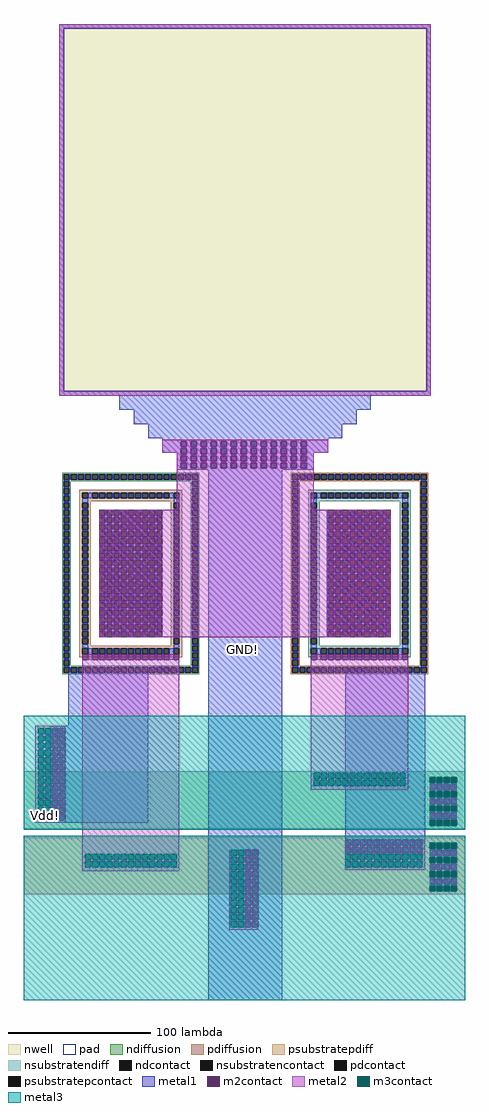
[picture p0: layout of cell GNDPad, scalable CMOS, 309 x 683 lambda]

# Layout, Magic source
magic
tech scmos
<< psubstratepdiff >>
rect 144 39 150 71
rect 159 39 165 71
<< metal1 >>
rect 97 356 213 357
rect 97 352 110 356
rect 114 352 117 356
rect 121 352 124 356
rect 128 352 131 356
rect 135 352 138 356
rect 142 352 145 356
rect 149 352 152 356
rect 156 352 159 356
rect 163 352 166 356
rect 170 352 173 356
rect 177 352 180 356
rect 184 352 187 356
rect 191 352 194 356
rect 198 352 213 356
rect 97 351 213 352
rect 97 348 110 351
rect 107 347 110 348
rect 114 347 117 351
rect 121 347 124 351
rect 128 347 131 351
rect 135 347 138 351
rect 142 347 145 351
rect 149 347 152 351
rect 156 347 159 351
rect 163 347 166 351
rect 170 347 173 351
rect 177 347 180 351
rect 184 347 187 351
rect 191 347 194 351
rect 198 348 213 351
rect 198 347 203 348
rect 107 346 203 347
rect 107 342 110 346
rect 114 342 117 346
rect 121 342 124 346
rect 128 342 131 346
rect 135 342 138 346
rect 142 342 145 346
rect 149 342 152 346
rect 156 342 159 346
rect 163 342 166 346
rect 170 342 173 346
rect 177 342 180 346
rect 184 342 187 346
rect 191 342 194 346
rect 198 342 203 346
rect 107 341 203 342
rect 107 337 110 341
rect 114 337 117 341
rect 121 337 124 341
rect 128 337 131 341
rect 135 337 138 341
rect 142 337 145 341
rect 149 337 152 341
rect 156 337 159 341
rect 163 337 166 341
rect 170 337 173 341
rect 177 337 180 341
rect 184 337 187 341
rect 191 337 194 341
rect 198 337 203 341
rect 107 336 203 337
rect 45 203 48 207
rect 52 203 53 207
rect 57 203 58 207
rect 62 203 63 207
rect 67 203 68 207
rect 72 203 73 207
rect 77 203 78 207
rect 82 203 83 207
rect 87 203 88 207
rect 92 203 93 207
rect 97 203 98 207
rect 102 203 105 207
rect 31 157 87 194
rect 19 155 87 157
rect 19 151 20 155
rect 24 151 25 155
rect 29 151 87 155
rect 19 150 87 151
rect 19 146 20 150
rect 24 146 25 150
rect 29 146 87 150
rect 19 145 87 146
rect 19 141 20 145
rect 24 141 25 145
rect 29 141 87 145
rect 19 140 87 141
rect 19 136 20 140
rect 24 136 25 140
rect 29 136 87 140
rect 19 135 87 136
rect 19 131 20 135
rect 24 131 25 135
rect 29 131 87 135
rect 19 130 87 131
rect 19 126 20 130
rect 24 126 25 130
rect 29 126 87 130
rect 19 125 87 126
rect 19 121 20 125
rect 24 121 25 125
rect 29 121 87 125
rect 19 120 87 121
rect 19 116 20 120
rect 24 116 25 120
rect 29 116 87 120
rect 19 115 87 116
rect 19 111 20 115
rect 24 111 25 115
rect 29 111 87 115
rect 19 110 87 111
rect 19 106 20 110
rect 24 106 25 110
rect 29 106 87 110
rect 19 105 87 106
rect 19 101 20 105
rect 24 101 25 105
rect 29 101 87 105
rect 19 100 87 101
rect 19 96 20 100
rect 24 96 25 100
rect 29 96 87 100
rect 19 95 87 96
rect 19 91 20 95
rect 24 91 25 95
rect 29 91 87 95
rect 19 89 87 91
rect 129 70 181 336
rect 205 203 208 207
rect 212 203 213 207
rect 217 203 218 207
rect 222 203 223 207
rect 227 203 228 207
rect 232 203 233 207
rect 237 203 238 207
rect 242 203 243 207
rect 247 203 248 207
rect 252 203 253 207
rect 257 203 258 207
rect 262 203 265 207
rect 129 66 155 70
rect 159 66 160 70
rect 164 66 181 70
rect 225 77 281 194
rect 229 73 230 77
rect 234 73 235 77
rect 239 73 240 77
rect 244 73 245 77
rect 249 73 250 77
rect 254 73 255 77
rect 259 73 260 77
rect 264 73 265 77
rect 269 73 270 77
rect 274 73 275 77
rect 279 73 281 77
rect 225 72 281 73
rect 229 68 230 72
rect 234 68 235 72
rect 239 68 240 72
rect 244 68 245 72
rect 249 68 250 72
rect 254 68 255 72
rect 259 68 260 72
rect 264 68 265 72
rect 269 68 270 72
rect 274 68 275 72
rect 279 68 281 72
rect 225 67 281 68
rect 129 65 181 66
rect 129 61 155 65
rect 159 61 160 65
rect 164 61 181 65
rect 129 60 181 61
rect 129 56 155 60
rect 159 56 160 60
rect 164 56 181 60
rect 129 55 181 56
rect 129 51 155 55
rect 159 51 160 55
rect 164 51 181 55
rect 129 50 181 51
rect 129 46 155 50
rect 159 46 160 50
rect 164 46 181 50
rect 129 45 181 46
rect 129 41 155 45
rect 159 41 160 45
rect 164 41 181 45
rect 129 40 181 41
rect 129 36 155 40
rect 159 36 160 40
rect 164 36 181 40
rect 129 35 181 36
rect 129 31 155 35
rect 159 31 160 35
rect 164 31 181 35
rect 129 30 181 31
rect 129 26 155 30
rect 159 26 160 30
rect 164 26 181 30
rect 129 25 181 26
rect 129 21 155 25
rect 159 21 160 25
rect 164 21 181 25
rect 129 20 181 21
rect 129 16 155 20
rect 159 16 160 20
rect 164 16 181 20
rect 129 -35 181 16
<< m2contact >>
rect 110 352 114 356
rect 117 352 121 356
rect 124 352 128 356
rect 131 352 135 356
rect 138 352 142 356
rect 145 352 149 356
rect 152 352 156 356
rect 159 352 163 356
rect 166 352 170 356
rect 173 352 177 356
rect 180 352 184 356
rect 187 352 191 356
rect 194 352 198 356
rect 110 347 114 351
rect 117 347 121 351
rect 124 347 128 351
rect 131 347 135 351
rect 138 347 142 351
rect 145 347 149 351
rect 152 347 156 351
rect 159 347 163 351
rect 166 347 170 351
rect 173 347 177 351
rect 180 347 184 351
rect 187 347 191 351
rect 194 347 198 351
rect 110 342 114 346
rect 117 342 121 346
rect 124 342 128 346
rect 131 342 135 346
rect 138 342 142 346
rect 145 342 149 346
rect 152 342 156 346
rect 159 342 163 346
rect 166 342 170 346
rect 173 342 177 346
rect 180 342 184 346
rect 187 342 191 346
rect 194 342 198 346
rect 110 337 114 341
rect 117 337 121 341
rect 124 337 128 341
rect 131 337 135 341
rect 138 337 142 341
rect 145 337 149 341
rect 152 337 156 341
rect 159 337 163 341
rect 166 337 170 341
rect 173 337 177 341
rect 180 337 184 341
rect 187 337 191 341
rect 194 337 198 341
rect 41 203 45 207
rect 48 203 52 207
rect 53 203 57 207
rect 58 203 62 207
rect 63 203 67 207
rect 68 203 72 207
rect 73 203 77 207
rect 78 203 82 207
rect 83 203 87 207
rect 88 203 92 207
rect 93 203 97 207
rect 98 203 102 207
rect 105 203 109 207
rect 20 151 24 155
rect 25 151 29 155
rect 20 146 24 150
rect 25 146 29 150
rect 20 141 24 145
rect 25 141 29 145
rect 20 136 24 140
rect 25 136 29 140
rect 20 131 24 135
rect 25 131 29 135
rect 20 126 24 130
rect 25 126 29 130
rect 20 121 24 125
rect 25 121 29 125
rect 20 116 24 120
rect 25 116 29 120
rect 20 111 24 115
rect 25 111 29 115
rect 20 106 24 110
rect 25 106 29 110
rect 20 101 24 105
rect 25 101 29 105
rect 20 96 24 100
rect 25 96 29 100
rect 20 91 24 95
rect 25 91 29 95
rect 201 203 205 207
rect 208 203 212 207
rect 213 203 217 207
rect 218 203 222 207
rect 223 203 227 207
rect 228 203 232 207
rect 233 203 237 207
rect 238 203 242 207
rect 243 203 247 207
rect 248 203 252 207
rect 253 203 257 207
rect 258 203 262 207
rect 265 203 269 207
rect 155 66 159 70
rect 160 66 164 70
rect 225 73 229 77
rect 230 73 234 77
rect 235 73 239 77
rect 240 73 244 77
rect 245 73 249 77
rect 250 73 254 77
rect 255 73 259 77
rect 260 73 264 77
rect 265 73 269 77
rect 270 73 274 77
rect 275 73 279 77
rect 225 68 229 72
rect 230 68 234 72
rect 235 68 239 72
rect 240 68 244 72
rect 245 68 249 72
rect 250 68 254 72
rect 255 68 259 72
rect 260 68 264 72
rect 265 68 269 72
rect 270 68 274 72
rect 275 68 279 72
rect 155 61 159 65
rect 160 61 164 65
rect 155 56 159 60
rect 160 56 164 60
rect 155 51 159 55
rect 160 51 164 55
rect 155 46 159 50
rect 160 46 164 50
rect 155 41 159 45
rect 160 41 164 45
rect 155 36 159 40
rect 160 36 164 40
rect 155 31 159 35
rect 160 31 164 35
rect 155 26 159 30
rect 160 26 164 30
rect 155 21 159 25
rect 160 21 164 25
rect 155 16 159 20
rect 160 16 164 20
<< metal2 >>
rect 97 356 213 357
rect 97 352 110 356
rect 114 352 117 356
rect 121 352 124 356
rect 128 352 131 356
rect 135 352 138 356
rect 142 352 145 356
rect 149 352 152 356
rect 156 352 159 356
rect 163 352 166 356
rect 170 352 173 356
rect 177 352 180 356
rect 184 352 187 356
rect 191 352 194 356
rect 198 352 213 356
rect 97 351 213 352
rect 97 348 110 351
rect 107 347 110 348
rect 114 347 117 351
rect 121 347 124 351
rect 128 347 131 351
rect 135 347 138 351
rect 142 347 145 351
rect 149 347 152 351
rect 156 347 159 351
rect 163 347 166 351
rect 170 347 173 351
rect 177 347 180 351
rect 184 347 187 351
rect 191 347 194 351
rect 198 348 213 351
rect 198 347 203 348
rect 107 346 203 347
rect 107 342 110 346
rect 114 342 117 346
rect 121 342 124 346
rect 128 342 131 346
rect 135 342 138 346
rect 142 342 145 346
rect 149 342 152 346
rect 156 342 159 346
rect 163 342 166 346
rect 170 342 173 346
rect 177 342 180 346
rect 184 342 187 346
rect 191 342 194 346
rect 198 342 203 346
rect 107 341 203 342
rect 107 337 110 341
rect 114 337 117 341
rect 121 337 124 341
rect 128 337 131 341
rect 135 337 138 341
rect 142 337 145 341
rect 149 337 152 341
rect 156 337 159 341
rect 163 337 166 341
rect 170 337 173 341
rect 177 337 180 341
rect 184 337 187 341
rect 191 337 194 341
rect 198 337 203 341
rect 107 308 203 337
rect 97 219 213 308
rect 45 203 48 207
rect 52 203 53 207
rect 57 203 58 207
rect 62 203 63 207
rect 67 203 68 207
rect 72 203 73 207
rect 77 203 78 207
rect 82 203 83 207
rect 87 203 88 207
rect 92 203 93 207
rect 97 203 98 207
rect 102 203 105 207
rect 8 155 29 157
rect 8 151 10 155
rect 14 151 15 155
rect 19 151 20 155
rect 24 151 25 155
rect 8 150 29 151
rect 8 146 10 150
rect 14 146 15 150
rect 19 146 20 150
rect 24 146 25 150
rect 8 145 29 146
rect 8 141 10 145
rect 14 141 15 145
rect 19 141 20 145
rect 24 141 25 145
rect 8 140 29 141
rect 8 136 10 140
rect 14 136 15 140
rect 19 136 20 140
rect 24 136 25 140
rect 8 135 29 136
rect 8 131 10 135
rect 14 131 15 135
rect 19 131 20 135
rect 24 131 25 135
rect 8 130 29 131
rect 8 126 10 130
rect 14 126 15 130
rect 19 126 20 130
rect 24 126 25 130
rect 8 125 29 126
rect 8 121 10 125
rect 14 121 15 125
rect 19 121 20 125
rect 24 121 25 125
rect 8 120 29 121
rect 8 116 10 120
rect 14 116 15 120
rect 19 116 20 120
rect 24 116 25 120
rect 8 115 29 116
rect 8 111 10 115
rect 14 111 15 115
rect 19 111 20 115
rect 24 111 25 115
rect 8 110 29 111
rect 8 106 10 110
rect 14 106 15 110
rect 19 106 20 110
rect 24 106 25 110
rect 8 105 29 106
rect 8 101 10 105
rect 14 101 15 105
rect 19 101 20 105
rect 24 101 25 105
rect 8 100 29 101
rect 8 96 10 100
rect 14 96 15 100
rect 19 96 20 100
rect 24 96 25 100
rect 8 95 29 96
rect 8 91 10 95
rect 14 91 15 95
rect 19 91 20 95
rect 24 91 25 95
rect 8 89 29 91
rect 41 67 109 203
rect 205 203 208 207
rect 212 203 213 207
rect 217 203 218 207
rect 222 203 223 207
rect 227 203 228 207
rect 232 203 233 207
rect 237 203 238 207
rect 242 203 243 207
rect 247 203 248 207
rect 252 203 253 207
rect 257 203 258 207
rect 262 203 265 207
rect 201 124 269 203
rect 201 120 203 124
rect 207 120 208 124
rect 212 120 213 124
rect 217 120 218 124
rect 222 120 223 124
rect 227 120 228 124
rect 232 120 233 124
rect 237 120 238 124
rect 242 120 243 124
rect 247 120 248 124
rect 252 120 253 124
rect 257 120 258 124
rect 262 120 263 124
rect 267 120 269 124
rect 201 119 269 120
rect 201 115 203 119
rect 207 115 208 119
rect 212 115 213 119
rect 217 115 218 119
rect 222 115 223 119
rect 227 115 228 119
rect 232 115 233 119
rect 237 115 238 119
rect 242 115 243 119
rect 247 115 248 119
rect 252 115 253 119
rect 257 115 258 119
rect 262 115 263 119
rect 267 115 269 119
rect 201 112 269 115
rect 229 73 230 77
rect 234 73 235 77
rect 239 73 240 77
rect 244 73 245 77
rect 249 73 250 77
rect 254 73 255 77
rect 259 73 260 77
rect 264 73 265 77
rect 269 73 270 77
rect 274 73 275 77
rect 279 73 281 77
rect 225 72 281 73
rect 41 63 43 67
rect 47 63 48 67
rect 52 63 53 67
rect 57 63 58 67
rect 62 63 63 67
rect 67 63 68 67
rect 72 63 73 67
rect 77 63 78 67
rect 82 63 83 67
rect 87 63 88 67
rect 92 63 93 67
rect 97 63 98 67
rect 102 63 103 67
rect 107 63 109 67
rect 41 62 109 63
rect 41 58 43 62
rect 47 58 48 62
rect 52 58 53 62
rect 57 58 58 62
rect 62 58 63 62
rect 67 58 68 62
rect 72 58 73 62
rect 77 58 78 62
rect 82 58 83 62
rect 87 58 88 62
rect 92 58 93 62
rect 97 58 98 62
rect 102 58 103 62
rect 107 58 109 62
rect 41 55 109 58
rect 144 66 145 70
rect 149 66 150 70
rect 154 66 155 70
rect 159 66 160 70
rect 144 65 164 66
rect 144 61 145 65
rect 149 61 150 65
rect 154 61 155 65
rect 159 61 160 65
rect 144 60 164 61
rect 144 56 145 60
rect 149 56 150 60
rect 154 56 155 60
rect 159 56 160 60
rect 229 68 230 72
rect 234 68 235 72
rect 239 68 240 72
rect 244 68 245 72
rect 249 68 250 72
rect 254 68 255 72
rect 259 68 260 72
rect 264 68 265 72
rect 269 68 270 72
rect 274 68 275 72
rect 279 68 281 72
rect 225 67 281 68
rect 229 63 230 67
rect 234 63 235 67
rect 239 63 240 67
rect 244 63 245 67
rect 249 63 250 67
rect 254 63 255 67
rect 259 63 260 67
rect 264 63 265 67
rect 269 63 270 67
rect 274 63 275 67
rect 279 63 281 67
rect 225 62 281 63
rect 229 58 230 62
rect 234 58 235 62
rect 239 58 240 62
rect 244 58 245 62
rect 249 58 250 62
rect 254 58 255 62
rect 259 58 260 62
rect 264 58 265 62
rect 269 58 270 62
rect 274 58 275 62
rect 279 58 281 62
rect 225 56 281 58
rect 144 55 164 56
rect 144 51 145 55
rect 149 51 150 55
rect 154 51 155 55
rect 159 51 160 55
rect 144 50 164 51
rect 144 46 145 50
rect 149 46 150 50
rect 154 46 155 50
rect 159 46 160 50
rect 144 45 164 46
rect 144 41 145 45
rect 149 41 150 45
rect 154 41 155 45
rect 159 41 160 45
rect 144 40 164 41
rect 144 36 145 40
rect 149 36 150 40
rect 154 36 155 40
rect 159 36 160 40
rect 144 35 164 36
rect 144 31 145 35
rect 149 31 150 35
rect 154 31 155 35
rect 159 31 160 35
rect 144 30 164 31
rect 144 26 145 30
rect 149 26 150 30
rect 154 26 155 30
rect 159 26 160 30
rect 144 25 164 26
rect 144 21 145 25
rect 149 21 150 25
rect 154 21 155 25
rect 159 21 160 25
rect 144 20 164 21
rect 144 16 145 20
rect 149 16 150 20
rect 154 16 155 20
rect 159 16 160 20
rect 144 14 164 16
<< m3contact >>
rect 10 151 14 155
rect 15 151 19 155
rect 10 146 14 150
rect 15 146 19 150
rect 10 141 14 145
rect 15 141 19 145
rect 10 136 14 140
rect 15 136 19 140
rect 10 131 14 135
rect 15 131 19 135
rect 10 126 14 130
rect 15 126 19 130
rect 10 121 14 125
rect 15 121 19 125
rect 10 116 14 120
rect 15 116 19 120
rect 10 111 14 115
rect 15 111 19 115
rect 10 106 14 110
rect 15 106 19 110
rect 10 101 14 105
rect 15 101 19 105
rect 10 96 14 100
rect 15 96 19 100
rect 10 91 14 95
rect 15 91 19 95
rect 203 120 207 124
rect 208 120 212 124
rect 213 120 217 124
rect 218 120 222 124
rect 223 120 227 124
rect 228 120 232 124
rect 233 120 237 124
rect 238 120 242 124
rect 243 120 247 124
rect 248 120 252 124
rect 253 120 257 124
rect 258 120 262 124
rect 263 120 267 124
rect 203 115 207 119
rect 208 115 212 119
rect 213 115 217 119
rect 218 115 222 119
rect 223 115 227 119
rect 228 115 232 119
rect 233 115 237 119
rect 238 115 242 119
rect 243 115 247 119
rect 248 115 252 119
rect 253 115 257 119
rect 258 115 262 119
rect 263 115 267 119
rect 43 63 47 67
rect 48 63 52 67
rect 53 63 57 67
rect 58 63 62 67
rect 63 63 67 67
rect 68 63 72 67
rect 73 63 77 67
rect 78 63 82 67
rect 83 63 87 67
rect 88 63 92 67
rect 93 63 97 67
rect 98 63 102 67
rect 103 63 107 67
rect 43 58 47 62
rect 48 58 52 62
rect 53 58 57 62
rect 58 58 62 62
rect 63 58 67 62
rect 68 58 72 62
rect 73 58 77 62
rect 78 58 82 62
rect 83 58 87 62
rect 88 58 92 62
rect 93 58 97 62
rect 98 58 102 62
rect 103 58 107 62
rect 145 66 149 70
rect 150 66 154 70
rect 145 61 149 65
rect 150 61 154 65
rect 145 56 149 60
rect 150 56 154 60
rect 225 63 229 67
rect 230 63 234 67
rect 235 63 239 67
rect 240 63 244 67
rect 245 63 249 67
rect 250 63 254 67
rect 255 63 259 67
rect 260 63 264 67
rect 265 63 269 67
rect 270 63 274 67
rect 275 63 279 67
rect 225 58 229 62
rect 230 58 234 62
rect 235 58 239 62
rect 240 58 244 62
rect 245 58 249 62
rect 250 58 254 62
rect 255 58 259 62
rect 260 58 264 62
rect 265 58 269 62
rect 270 58 274 62
rect 275 58 279 62
rect 145 51 149 55
rect 150 51 154 55
rect 145 46 149 50
rect 150 46 154 50
rect 145 41 149 45
rect 150 41 154 45
rect 145 36 149 40
rect 150 36 154 40
rect 145 31 149 35
rect 150 31 154 35
rect 145 26 149 30
rect 150 26 154 30
rect 145 21 149 25
rect 150 21 154 25
rect 145 16 149 20
rect 150 16 154 20
<< metal3 >>
rect 8 155 20 157
rect 8 151 10 155
rect 14 151 15 155
rect 19 151 20 155
rect 8 150 20 151
rect 8 146 10 150
rect 14 146 15 150
rect 19 146 20 150
rect 8 145 20 146
rect 8 141 10 145
rect 14 141 15 145
rect 19 141 20 145
rect 8 140 20 141
rect 8 136 10 140
rect 14 136 15 140
rect 19 136 20 140
rect 8 135 20 136
rect 8 131 10 135
rect 14 131 15 135
rect 19 131 20 135
rect 8 130 20 131
rect 8 126 10 130
rect 14 126 15 130
rect 19 126 20 130
rect 8 125 20 126
rect 8 121 10 125
rect 14 121 15 125
rect 19 121 20 125
rect 8 120 20 121
rect 8 116 10 120
rect 14 116 15 120
rect 19 116 20 120
rect 8 115 20 116
rect 8 111 10 115
rect 14 111 15 115
rect 19 111 20 115
rect 201 124 269 125
rect 201 120 203 124
rect 207 120 208 124
rect 212 120 213 124
rect 217 120 218 124
rect 222 120 223 124
rect 227 120 228 124
rect 232 120 233 124
rect 237 120 238 124
rect 242 120 243 124
rect 247 120 248 124
rect 252 120 253 124
rect 257 120 258 124
rect 262 120 263 124
rect 267 120 269 124
rect 201 119 269 120
rect 201 115 203 119
rect 207 115 208 119
rect 212 115 213 119
rect 217 115 218 119
rect 222 115 223 119
rect 227 115 228 119
rect 232 115 233 119
rect 237 115 238 119
rect 242 115 243 119
rect 247 115 248 119
rect 252 115 253 119
rect 257 115 258 119
rect 262 115 263 119
rect 267 115 269 119
rect 201 112 269 115
rect 8 110 20 111
rect 8 106 10 110
rect 14 106 15 110
rect 19 106 20 110
rect 8 105 20 106
rect 8 101 10 105
rect 14 101 15 105
rect 19 101 20 105
rect 8 100 20 101
rect 8 96 10 100
rect 14 96 15 100
rect 19 96 20 100
rect 8 95 20 96
rect 8 91 10 95
rect 14 91 15 95
rect 19 91 20 95
rect 8 88 20 91
rect 144 70 165 71
rect 41 67 109 68
rect 41 63 43 67
rect 47 63 48 67
rect 52 63 53 67
rect 57 63 58 67
rect 62 63 63 67
rect 67 63 68 67
rect 72 63 73 67
rect 77 63 78 67
rect 82 63 83 67
rect 87 63 88 67
rect 92 63 93 67
rect 97 63 98 67
rect 102 63 103 67
rect 107 63 109 67
rect 41 62 109 63
rect 41 58 43 62
rect 47 58 48 62
rect 52 58 53 62
rect 57 58 58 62
rect 62 58 63 62
rect 67 58 68 62
rect 72 58 73 62
rect 77 58 78 62
rect 82 58 83 62
rect 87 58 88 62
rect 92 58 93 62
rect 97 58 98 62
rect 102 58 103 62
rect 107 58 109 62
rect 41 55 109 58
rect 144 66 145 70
rect 149 66 150 70
rect 154 66 165 70
rect 144 65 165 66
rect 144 61 145 65
rect 149 61 150 65
rect 154 61 165 65
rect 144 60 165 61
rect 144 56 145 60
rect 149 56 150 60
rect 154 56 165 60
rect 224 67 281 69
rect 224 63 225 67
rect 229 63 230 67
rect 234 63 235 67
rect 239 63 240 67
rect 244 63 245 67
rect 249 63 250 67
rect 254 63 255 67
rect 259 63 260 67
rect 264 63 265 67
rect 269 63 270 67
rect 274 63 275 67
rect 279 63 281 67
rect 224 62 281 63
rect 224 58 225 62
rect 229 58 230 62
rect 234 58 235 62
rect 239 58 240 62
rect 244 58 245 62
rect 249 58 250 62
rect 254 58 255 62
rect 259 58 260 62
rect 264 58 265 62
rect 269 58 270 62
rect 274 58 275 62
rect 279 58 281 62
rect 224 56 281 58
rect 144 55 165 56
rect 144 51 145 55
rect 149 51 150 55
rect 154 51 165 55
rect 144 50 165 51
rect 144 46 145 50
rect 149 46 150 50
rect 154 46 165 50
rect 144 45 165 46
rect 144 41 145 45
rect 149 41 150 45
rect 154 41 165 45
rect 144 40 165 41
rect 144 36 145 40
rect 149 36 150 40
rect 154 36 165 40
rect 144 35 165 36
rect 144 31 145 35
rect 149 31 150 35
rect 154 31 165 35
rect 144 30 165 31
rect 144 26 145 30
rect 149 26 150 30
rect 154 26 165 30
rect 144 25 165 26
rect 144 21 145 25
rect 149 21 150 25
rect 154 21 165 25
rect 144 20 165 21
rect 144 16 145 20
rect 149 16 150 20
rect 154 16 165 20
rect 144 14 165 16
use barepad  b
transform 1 0 9 0 1 -366
box 16 702 276 1014
use ndiode  nd
transform 1 0 41 0 1 206
box -14 -13 82 128
use pdiode  pd
transform 1 0 180 0 1 202
box 7 -9 103 132
use barering  br
transform 1 0 -2 0 1 -12
box 2 -23 311 176
<< labels >>
rlabel metal3 15 94 15 94 1 Vdd!
rlabel metal1 153 210 153 210 1 GND!
<< end >>

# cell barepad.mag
magic
tech scmos
<< nwell >>
rect 16 754 276 1014
<< metal1 >>
rect 16 1011 276 1014
rect 16 757 19 1011
rect 273 757 276 1011
rect 16 754 276 757
rect 58 744 234 754
rect 68 734 224 744
rect 78 724 214 734
rect 88 714 204 724
rect 98 702 194 714
<< metal2 >>
rect 16 1011 276 1014
rect 16 757 19 1011
rect 273 757 276 1011
rect 16 754 276 757
<< pad >>
rect 19 757 273 1011
<< end >>

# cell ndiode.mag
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
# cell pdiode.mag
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
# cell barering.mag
magic
tech scmos
<< psubstratepdiff >>
rect 2 87 311 91
rect 2 83 286 87
rect 290 83 291 87
rect 295 83 296 87
rect 300 83 301 87
rect 305 83 311 87
rect 2 77 311 83
rect 2 73 286 77
rect 290 73 291 77
rect 295 73 296 77
rect 300 73 301 77
rect 305 73 311 77
rect 2 67 311 73
rect 2 63 286 67
rect 290 63 291 67
rect 295 63 296 67
rect 300 63 301 67
rect 305 63 311 67
rect 2 57 311 63
rect 2 53 286 57
rect 290 53 291 57
rect 295 53 296 57
rect 300 53 301 57
rect 305 53 311 57
rect 2 51 311 53
<< nsubstratendiff >>
rect 2 133 311 137
rect 2 129 286 133
rect 290 129 291 133
rect 295 129 296 133
rect 300 129 301 133
rect 305 129 311 133
rect 2 123 311 129
rect 2 119 286 123
rect 290 119 291 123
rect 295 119 296 123
rect 300 119 301 123
rect 305 119 311 123
rect 2 113 311 119
rect 2 109 286 113
rect 290 109 291 113
rect 295 109 296 113
rect 300 109 301 113
rect 305 109 311 113
rect 2 103 311 109
rect 2 99 286 103
rect 290 99 291 103
rect 295 99 296 103
rect 300 99 301 103
rect 305 99 311 103
rect 2 97 311 99
<< psubstratepcontact >>
rect 286 83 290 87
rect 291 83 295 87
rect 296 83 300 87
rect 301 83 305 87
rect 286 73 290 77
rect 291 73 295 77
rect 296 73 300 77
rect 301 73 305 77
rect 286 63 290 67
rect 291 63 295 67
rect 296 63 300 67
rect 301 63 305 67
rect 286 53 290 57
rect 291 53 295 57
rect 296 53 300 57
rect 301 53 305 57
<< nsubstratencontact >>
rect 286 129 290 133
rect 291 129 295 133
rect 296 129 300 133
rect 301 129 305 133
rect 286 119 290 123
rect 291 119 295 123
rect 296 119 300 123
rect 301 119 305 123
rect 286 109 290 113
rect 291 109 295 113
rect 296 109 300 113
rect 301 109 305 113
rect 286 99 290 103
rect 291 99 295 103
rect 296 99 300 103
rect 301 99 305 103
<< metal1 >>
rect 290 129 291 133
rect 295 129 296 133
rect 300 129 301 133
rect 286 128 305 129
rect 290 124 291 128
rect 295 124 296 128
rect 300 124 301 128
rect 286 123 305 124
rect 290 119 291 123
rect 295 119 296 123
rect 300 119 301 123
rect 286 118 305 119
rect 290 114 291 118
rect 295 114 296 118
rect 300 114 301 118
rect 286 113 305 114
rect 290 109 291 113
rect 295 109 296 113
rect 300 109 301 113
rect 286 108 305 109
rect 290 104 291 108
rect 295 104 296 108
rect 300 104 301 108
rect 286 103 305 104
rect 290 99 291 103
rect 295 99 296 103
rect 300 99 301 103
rect 290 83 291 87
rect 295 83 296 87
rect 300 83 301 87
rect 286 82 305 83
rect 290 78 291 82
rect 295 78 296 82
rect 300 78 301 82
rect 286 77 305 78
rect 290 73 291 77
rect 295 73 296 77
rect 300 73 301 77
rect 286 72 305 73
rect 290 68 291 72
rect 295 68 296 72
rect 300 68 301 72
rect 286 67 305 68
rect 290 63 291 67
rect 295 63 296 67
rect 300 63 301 67
rect 286 62 305 63
rect 290 58 291 62
rect 295 58 296 62
rect 300 58 301 62
rect 286 57 305 58
rect 290 53 291 57
rect 295 53 296 57
rect 300 53 301 57
<< m2contact >>
rect 286 124 290 128
rect 291 124 295 128
rect 296 124 300 128
rect 301 124 305 128
rect 286 114 290 118
rect 291 114 295 118
rect 296 114 300 118
rect 301 114 305 118
rect 286 104 290 108
rect 291 104 295 108
rect 296 104 300 108
rect 301 104 305 108
rect 286 78 290 82
rect 291 78 295 82
rect 296 78 300 82
rect 301 78 305 82
rect 286 68 290 72
rect 291 68 295 72
rect 296 68 300 72
rect 301 68 305 72
rect 286 58 290 62
rect 291 58 295 62
rect 296 58 300 62
rect 301 58 305 62
<< metal2 >>
rect 290 129 291 133
rect 295 129 296 133
rect 300 129 301 133
rect 286 128 305 129
rect 290 124 291 128
rect 295 124 296 128
rect 300 124 301 128
rect 286 123 305 124
rect 290 119 291 123
rect 295 119 296 123
rect 300 119 301 123
rect 286 118 305 119
rect 290 114 291 118
rect 295 114 296 118
rect 300 114 301 118
rect 286 113 305 114
rect 290 109 291 113
rect 295 109 296 113
rect 300 109 301 113
rect 286 108 305 109
rect 290 104 291 108
rect 295 104 296 108
rect 300 104 301 108
rect 286 103 305 104
rect 290 99 291 103
rect 295 99 296 103
rect 300 99 301 103
rect 290 83 291 87
rect 295 83 296 87
rect 300 83 301 87
rect 286 82 305 83
rect 290 78 291 82
rect 295 78 296 82
rect 300 78 301 82
rect 286 77 305 78
rect 290 73 291 77
rect 295 73 296 77
rect 300 73 301 77
rect 286 72 305 73
rect 290 68 291 72
rect 295 68 296 72
rect 300 68 301 72
rect 286 67 305 68
rect 290 63 291 67
rect 295 63 296 67
rect 300 63 301 67
rect 286 62 305 63
rect 290 58 291 62
rect 295 58 296 62
rect 300 58 301 62
rect 286 57 305 58
rect 290 53 291 57
rect 295 53 296 57
rect 300 53 301 57
<< m3contact >>
rect 286 129 290 133
rect 291 129 295 133
rect 296 129 300 133
rect 301 129 305 133
rect 286 119 290 123
rect 291 119 295 123
rect 296 119 300 123
rect 301 119 305 123
rect 286 109 290 113
rect 291 109 295 113
rect 296 109 300 113
rect 301 109 305 113
rect 286 99 290 103
rect 291 99 295 103
rect 296 99 300 103
rect 301 99 305 103
rect 286 83 290 87
rect 291 83 295 87
rect 296 83 300 87
rect 301 83 305 87
rect 286 73 290 77
rect 291 73 295 77
rect 296 73 300 77
rect 301 73 305 77
rect 286 63 290 67
rect 291 63 295 67
rect 296 63 300 67
rect 301 63 305 67
rect 286 53 290 57
rect 291 53 295 57
rect 296 53 300 57
rect 301 53 305 57
<< metal3 >>
rect 2 133 311 176
rect 2 129 286 133
rect 290 129 291 133
rect 295 129 296 133
rect 300 129 301 133
rect 305 129 311 133
rect 2 123 311 129
rect 2 119 286 123
rect 290 119 291 123
rect 295 119 296 123
rect 300 119 301 123
rect 305 119 311 123
rect 2 113 311 119
rect 2 109 286 113
rect 290 109 291 113
rect 295 109 296 113
rect 300 109 301 113
rect 305 109 311 113
rect 2 103 311 109
rect 2 99 286 103
rect 290 99 291 103
rect 295 99 296 103
rect 300 99 301 103
rect 305 99 311 103
rect 2 96 311 99
rect 2 87 311 92
rect 2 83 286 87
rect 290 83 291 87
rect 295 83 296 87
rect 300 83 301 87
rect 305 83 311 87
rect 2 77 311 83
rect 2 73 286 77
rect 290 73 291 77
rect 295 73 296 77
rect 300 73 301 77
rect 305 73 311 77
rect 2 67 311 73
rect 2 63 286 67
rect 290 63 291 67
rect 295 63 296 67
rect 300 63 301 67
rect 305 63 311 67
rect 2 57 311 63
rect 2 53 286 57
rect 290 53 291 57
rect 295 53 296 57
rect 300 53 301 57
rect 305 53 311 57
rect 2 -23 311 53
<< labels >>
rlabel metal3 16 107 16 107 1 Vdd!
rlabel metal3 15 81 15 81 1 GND!
<< end >>
